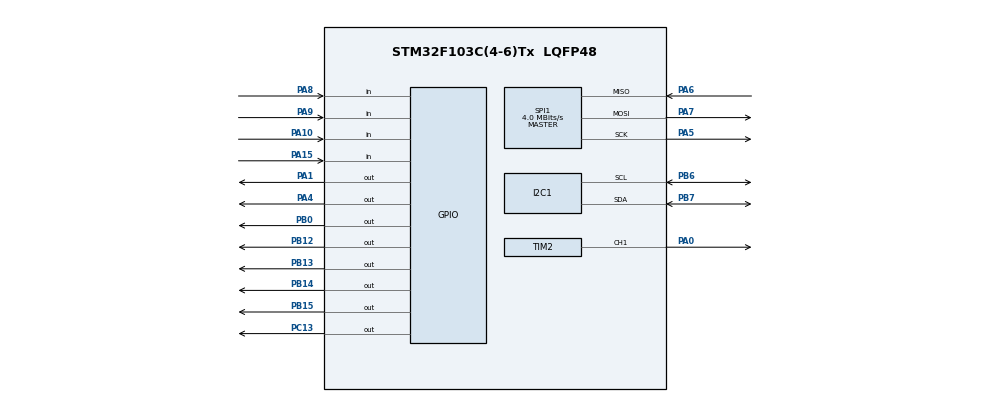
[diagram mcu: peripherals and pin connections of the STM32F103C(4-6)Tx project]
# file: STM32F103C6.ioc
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Mcu.Family=STM32F1
Mcu.Name=STM32F103C(4-6)Tx
Mcu.Package=LQFP48
NVIC.PriorityGroup=NVIC_PRIORITYGROUP_4
PA0-WKUP.Signal=S_TIM2_CH1_ETR
PA1.Signal=GPIO_Output
PA10.GPIO_PuPd=GPIO_PULLUP
PA10.Signal=GPIO_Input
PA13.Mode=Serial_Wire
PA13.Signal=SYS_JTMS-SWDIO
PA14.Mode=Serial_Wire
PA14.Signal=SYS_JTCK-SWCLK
PA15.GPIO_PuPd=GPIO_PULLUP
PA15.Signal=GPIO_Input
PA4.Signal=GPIO_Output
PA5.Mode=Full_Duplex_Master
PA5.Signal=SPI1_SCK
PA6.Mode=Full_Duplex_Master
PA6.Signal=SPI1_MISO
PA7.Mode=Full_Duplex_Master
PA7.Signal=SPI1_MOSI
PA8.GPIO_PuPd=GPIO_PULLUP
PA8.Signal=GPIO_Input
PA9.GPIO_PuPd=GPIO_PULLUP
PA9.Signal=GPIO_Input
PB0.Signal=GPIO_Output
PB12.Signal=GPIO_Output
PB13.Signal=GPIO_Output
PB14.Signal=GPIO_Output
PB15.Signal=GPIO_Output
PB6.Mode=I2C
PB6.Signal=I2C1_SCL
PB7.Mode=I2C
PB7.Signal=I2C1_SDA
PC13-TAMPER-RTC.Signal=GPIO_Output
ProjectManager.HeapSize=0x200
ProjectManager.StackSize=0x400
ProjectManager.TargetToolchain=STM32CubeIDE
RCC.APB1Freq_Value=8000000
RCC.APB2Freq_Value=8000000
SH.S_TIM2_CH1_ETR.0=TIM2_CH1,PWM Generation1 CH1
SPI1.CalculateBaudRate=4.0 MBits/s
SPI1.Direction=SPI_DIRECTION_2LINES
SPI1.Mode=SPI_MODE_MASTER
SPI1.VirtualType=VM_MASTER
TIM2.Channel-PWM\ Generation1\ CH1=TIM_CHANNEL_1
TIM2.Prescaler=7
board=custom

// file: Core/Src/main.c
/* USER CODE BEGIN Header */
/**
  ******************************************************************************
  * @file           : main.c
  * @brief          : Main program body
  ******************************************************************************
  * @attention
  *
  * Copyright (c) 2026 STMicroelectronics.
  * All rights reserved.
  *
  * This software is licensed under terms that can be found in the LICENSE file
  * in the root directory of this software component.
  * If no LICENSE file comes with this software, it is provided AS-IS.
  *
  ******************************************************************************
  */
/* USER CODE END Header */
#include "main.h"

/* USER CODE BEGIN Includes */
#include "i2c-lcd.h"
#include <string.h>
#include <stdio.h>
#include "rc522.h"
/* USER CODE END Includes */

I2C_HandleTypeDef hi2c1;

SPI_HandleTypeDef hspi1;

TIM_HandleTypeDef htim2;

void SystemClock_Config(void);
static void MX_GPIO_Init(void);
static void MX_I2C1_Init(void);
static void MX_SPI1_Init(void);
static void MX_TIM2_Init(void);

/* USER CODE BEGIN 0 */
#define FLASH_ADDR 0x08007C00 // The absolute end of the 32KB C6 flash

// Create a package for our security data
typedef struct {
    uint32_t memory_flag; // A special tag to know if we've saved before
    char pin[8];
    int total;
    uint8_t cards[5][4];
} SaveData;

void load_from_flash(char* pin, int* total, uint8_t cards[5][4]) {
    SaveData* saved = (SaveData*)FLASH_ADDR;
    // If the memory flag matches, load the saved data!
    if(saved->memory_flag == 0xABCD1234) {
        strcpy(pin, saved->pin);
        *total = saved->total;
        memcpy(cards, saved->cards, 20);
    }
}

void save_to_flash(char* pin, int total, uint8_t cards[5][4]) {
    SaveData data;
    data.memory_flag = 0xABCD1234;
    strcpy(data.pin, pin);
    data.total = total;
    memcpy(data.cards, cards, 20);

    HAL_FLASH_Unlock();

    // Step 1: Erase the old page
    FLASH_EraseInitTypeDef EraseInitStruct;
    uint32_t PageError = 0;
    EraseInitStruct.TypeErase = FLASH_TYPEERASE_PAGES;
    EraseInitStruct.PageAddress = FLASH_ADDR;
    EraseInitStruct.NbPages = 1;
    HAL_FLASHEx_Erase(&EraseInitStruct, &PageError);

    // Step 2: Write the new data package into the silicon
    uint32_t* ptr = (uint32_t*)&data;
    for(int i = 0; i < sizeof(SaveData)/4; i++) {
        HAL_FLASH_Program(FLASH_TYPEPROGRAM_WORD, FLASH_ADDR + (i*4), ptr[i]);
    }

    HAL_FLASH_Lock();
}
void beep_success(void) {
    HAL_GPIO_WritePin(GPIOA, GPIO_PIN_1, GPIO_PIN_RESET); HAL_Delay(60);  // ON (Short)
    HAL_GPIO_WritePin(GPIOA, GPIO_PIN_1, GPIO_PIN_SET);   HAL_Delay(60);  // OFF
    HAL_GPIO_WritePin(GPIOA, GPIO_PIN_1, GPIO_PIN_RESET); HAL_Delay(250); // ON (Long)
    HAL_GPIO_WritePin(GPIOA, GPIO_PIN_1, GPIO_PIN_SET);                   // OFF
}

void beep_error(void) {
    HAL_GPIO_WritePin(GPIOA, GPIO_PIN_1, GPIO_PIN_RESET); HAL_Delay(350); // ON (Heavy)
    HAL_GPIO_WritePin(GPIOA, GPIO_PIN_1, GPIO_PIN_SET);   HAL_Delay(150); // OFF
    HAL_GPIO_WritePin(GPIOA, GPIO_PIN_1, GPIO_PIN_RESET); HAL_Delay(350); // ON (Heavy)
    HAL_GPIO_WritePin(GPIOA, GPIO_PIN_1, GPIO_PIN_SET);                   // OFF
}

void beep_lock(void) {
    HAL_GPIO_WritePin(GPIOA, GPIO_PIN_1, GPIO_PIN_RESET); HAL_Delay(400);
    HAL_GPIO_WritePin(GPIOA, GPIO_PIN_1, GPIO_PIN_SET);
}

void beep_mode(void) {
    HAL_GPIO_WritePin(GPIOA, GPIO_PIN_1, GPIO_PIN_RESET); HAL_Delay(40);
    HAL_GPIO_WritePin(GPIOA, GPIO_PIN_1, GPIO_PIN_SET); HAL_Delay(40);
    HAL_GPIO_WritePin(GPIOA, GPIO_PIN_1, GPIO_PIN_RESET); HAL_Delay(40);
    HAL_GPIO_WritePin(GPIOA, GPIO_PIN_1, GPIO_PIN_SET);
}
char read_keypad(void)
{
    GPIO_TypeDef* row_ports[] = {GPIOB, GPIOB, GPIOB, GPIOB};
    uint16_t row_pins[] = {GPIO_PIN_12, GPIO_PIN_13, GPIO_PIN_14, GPIO_PIN_15};
    GPIO_TypeDef* col_ports[] = {GPIOA, GPIOA, GPIOA, GPIOA};
    uint16_t col_pins[] = {GPIO_PIN_8, GPIO_PIN_9, GPIO_PIN_10, GPIO_PIN_15};

    char keys[4][4] = {
        {'1', '2', '3', 'A'},
        {'4', '5', '6', 'B'},
        {'7', '8', '9', 'C'},
        {'*', '0', '#', 'D'}
    };

    for (int r = 0; r < 4; r++)
    {
        HAL_GPIO_WritePin(row_ports[r], row_pins[r], GPIO_PIN_RESET);

        for (int c = 0; c < 4; c++)
        {
            if (HAL_GPIO_ReadPin(col_ports[c], col_pins[c]) == GPIO_PIN_RESET)
            {
                HAL_Delay(200); // Safe delay instead of an infinite trap loop
                HAL_GPIO_WritePin(row_ports[r], row_pins[r], GPIO_PIN_SET);
                return keys[r][c];
            }
        }
        HAL_GPIO_WritePin(row_ports[r], row_pins[r], GPIO_PIN_SET);
    }
    return '\0';
}
/* USER CODE END 0 */

int main(void)
{

  /* MCU Configuration--------------------------------------------------------*/

  /* Reset of all peripherals, Initializes the Flash interface and the Systick. */
  HAL_Init();

  /* Configure the system clock */
  SystemClock_Config();

  /* Initialize all configured peripherals */
  MX_GPIO_Init();
  MX_I2C1_Init();
  MX_SPI1_Init();
  MX_TIM2_Init();
  /* USER CODE BEGIN 2 */
  lcd_init();

  // Initialize all rows to HIGH
  HAL_GPIO_WritePin(GPIOB, GPIO_PIN_12 | GPIO_PIN_13 | GPIO_PIN_14 | GPIO_PIN_15, GPIO_PIN_SET);
  HAL_GPIO_WritePin(GPIOA, GPIO_PIN_1, GPIO_PIN_SET); // Ensure Buzzer is OFF

  // Start the servo motor PWM signal
  HAL_TIM_PWM_Start(&htim2, TIM_CHANNEL_1);
  TIM2->CCR1 = 500; // Locked Position

  // Initialize RFID
  MFRC522_Init();

  // =========================================================
  // FACTORY RESET CHECK (Hold 'D' during startup)
  // =========================================================
  HAL_GPIO_WritePin(GPIOB, GPIO_PIN_15, GPIO_PIN_RESET); // Pull Row 4 LOW
  HAL_Delay(10); // Give the voltage a microsecond to settle

  if (HAL_GPIO_ReadPin(GPIOA, GPIO_PIN_15) == GPIO_PIN_RESET)
  {
      lcd_clear();
      lcd_put_cur(0, 1);
      lcd_send_string("FACTORY RESET");
      lcd_put_cur(1, 2);
      lcd_send_string("IN PROGRESS...");

      // Wipe memory and restore default PIN and Master Card
      uint8_t default_cards[5][4] = {{0x5B, 0x93, 0x6A, 0x06}, {0}, {0}, {0}, {0}};
      save_to_flash("0000", 1, default_cards);

      // Long 2-second beep for audio confirmation
      HAL_GPIO_WritePin(GPIOA, GPIO_PIN_1, GPIO_PIN_RESET);
      HAL_Delay(2000);
      HAL_GPIO_WritePin(GPIOA, GPIO_PIN_1, GPIO_PIN_SET);

      lcd_clear();
      lcd_put_cur(0, 1);
      lcd_send_string("RESET COMPLETE");
      HAL_Delay(1500);
  }
  HAL_GPIO_WritePin(GPIOB, GPIO_PIN_15, GPIO_PIN_SET); // Restore Row 4 HIGH

  // Normal Boot Screen
  lcd_clear();
  lcd_put_cur(0, 0);
  lcd_send_string("DOOR LOCKED");
  lcd_put_cur(1, 0);
  lcd_send_string("Enter PIN: ");
  /* USER CODE END 2 */

  /* Infinite loop */
  /* USER CODE BEGIN WHILE */
  uint32_t led_timer = HAL_GetTick();
  uint32_t unlock_timer = 0;
  uint32_t sleep_timer = HAL_GetTick();
  int is_asleep = 0;
  int failed_attempts = 0;
  int is_locked_out = 0;
  uint32_t lockout_timer = 0;
  uint32_t alarm_timer = HAL_GetTick();
  char current_pin[5] = "0000";
  char input_buffer[5] = "";
  int input_index = 0;
  int system_state = 0; // 0=Locked, 1=Unlocked, 2=ChangePIN, 3=VerifyPIN for Card, 4=ScanNewCard

  // Database for up to 5 authorized cards. (Slot 0 is your master card).
  uint8_t authorized_cards[5][4] = {
      {0x5B, 0x93, 0x6A, 0x06},
      {0}, {0}, {0}, {0}
  };
  int total_cards = 1;
  load_from_flash(current_pin, &total_cards, authorized_cards);

  while (1)
      {
          // =========================================================
          // 1. RFID SCANNER CHECK (Works even during lockout)
          // =========================================================
          uint8_t rfid_id[5];
          if (MFRC522_Check(rfid_id) == 0)
          {
              sleep_timer = HAL_GetTick();
              if (is_asleep) {
                  is_asleep = 0;
                  uint8_t wake_cmd = 0x08;
                  HAL_I2C_Master_Transmit(&hi2c1, 0x4E, &wake_cmd, 1, 10);
              }

              if (system_state == 4) // ADD CARD MODE
              {
                  if (total_cards < 5)
                  {
                      authorized_cards[total_cards][0] = rfid_id[0];
                      authorized_cards[total_cards][1] = rfid_id[1];
                      authorized_cards[total_cards][2] = rfid_id[2];
                      authorized_cards[total_cards][3] = rfid_id[3];
                      total_cards++;
                      save_to_flash(current_pin, total_cards, authorized_cards);

                      beep_success();
                      lcd_clear();
                      lcd_put_cur(0, 2);
                      lcd_send_string("CARD ADDED!");
                  }
                  else
                  {
                      beep_error();
                      lcd_clear();
                      lcd_put_cur(0, 2);
                      lcd_send_string("MEMORY FULL!");
                  }
                  HAL_Delay(1500);
                  system_state = 1;
                  TIM2->CCR1 = 1500;
                  lcd_clear();
                  lcd_put_cur(0, 1);
                  lcd_send_string("DOOR UNLOCKED!");
                  lcd_put_cur(1, 0);
                  lcd_send_string("#:Lck *:PIN A:ID");
              }
              else if (system_state == 0 || is_locked_out == 1) // LOCKED OR ALARM MODE
              {
                  int card_matched = 0;
                  for (int i = 0; i < total_cards; i++)
                  {
                      if (rfid_id[0] == authorized_cards[i][0] && rfid_id[1] == authorized_cards[i][1] &&
                          rfid_id[2] == authorized_cards[i][2] && rfid_id[3] == authorized_cards[i][3])
                      {
                          card_matched = 1;
                          break;
                      }
                  }

                  if (card_matched == 1)
                  {
                      is_locked_out = 0; // OVERRIDE ALARM
                      failed_attempts = 0;
                      HAL_GPIO_WritePin(GPIOA, GPIO_PIN_1, GPIO_PIN_SET); // Force buzzer off

                      system_state = 1;
                      TIM2->CCR1 = 1500;
                      unlock_timer = HAL_GetTick();
                      beep_success();
                      lcd_clear();
                      lcd_put_cur(0, 1);
                      lcd_send_string("DOOR UNLOCKED!");
                      lcd_put_cur(1, 0);
                      lcd_send_string("#:Lck *:PIN A:ID");
                  }
                  else if (!is_locked_out)
                  {
                      failed_attempts++;
                      if (failed_attempts >= 3)
                      {
                          is_locked_out = 1;
                          lockout_timer = HAL_GetTick();
                          lcd_clear();
                          lcd_put_cur(0, 1);
                          lcd_send_string("SYSTEM LOCKED!");
                          lcd_put_cur(1, 0);
                          lcd_send_string("Scan Valid Card");
                      }
                      else
                      {
                          beep_error();
                          lcd_clear();
                          lcd_put_cur(0, 1);
                          lcd_send_string("ACCESS DENIED!");
                          HAL_Delay(1500);

                          lcd_clear();
                          lcd_put_cur(0, 0);
                          lcd_send_string("DOOR LOCKED");
                          lcd_put_cur(1, 0);
                          lcd_send_string("Enter PIN: ");
                      }
                  }
              }
              input_index = 0;
              memset(input_buffer, 0, sizeof(input_buffer));
              HAL_Delay(1000);
          }

          // =========================================================
          // 2. KEYPAD & ALARM LOGIC
          // =========================================================
          char key = read_keypad();

          // IF THE ALARM IS TRIGGERED
          if (is_locked_out)
                  {
                      // 1. Force the screen to stay awake for the entire 30 seconds
                      sleep_timer = HAL_GetTick();
                      if (is_asleep) {
                          is_asleep = 0;
                          uint8_t wake_cmd = 0x08;
                          HAL_I2C_Master_Transmit(&hi2c1, 0x4E, &wake_cmd, 1, 10);
                      }

                      // 2. Rapidly toggle buzzer for alarm sound
                      if (HAL_GetTick() - alarm_timer >= 100) {
                          HAL_GPIO_TogglePin(GPIOA, GPIO_PIN_1);
                          alarm_timer = HAL_GetTick();
                      }

                      // 3. Check if 30-second penalty is over
                      if (HAL_GetTick() - lockout_timer >= 30000) {
                          is_locked_out = 0;
                          failed_attempts = 0;
                          HAL_GPIO_WritePin(GPIOA, GPIO_PIN_1, GPIO_PIN_SET); // Turn buzzer off

                          lcd_clear();
                          lcd_put_cur(0, 0);
                          lcd_send_string("DOOR LOCKED");
                          lcd_put_cur(1, 0);
                          lcd_send_string("Enter PIN: ");

                          // Start a fresh 15-second sleep countdown for the normal menu
                          sleep_timer = HAL_GetTick();
                      }

                      // (We no longer need the keypad check here since the screen is forced awake)
                  }
          // IF NORMAL OPERATION
          else if (key != '\0')
          {
              sleep_timer = HAL_GetTick();
              if (is_asleep) {
                  is_asleep = 0;
                  uint8_t wake_cmd = 0x08;
                  HAL_I2C_Master_Transmit(&hi2c1, 0x4E, &wake_cmd, 1, 10);
              }

              if (system_state == 0) // Locked
              {
                  if (key >= '0' && key <= '9')
                  {
                      HAL_GPIO_WritePin(GPIOA, GPIO_PIN_1, GPIO_PIN_RESET); HAL_Delay(50);
                      HAL_GPIO_WritePin(GPIOA, GPIO_PIN_1, GPIO_PIN_SET);

                      input_buffer[input_index] = key;
                      lcd_put_cur(1, 11 + input_index);
                      lcd_send_data('*');
                      input_index++;

                      if (input_index == 4)
                      {
                          input_buffer[4] = '\0';
                          if (strcmp(input_buffer, current_pin) == 0)
                          {
                              failed_attempts = 0;
                              system_state = 1;
                              TIM2->CCR1 = 1500;
                              unlock_timer = HAL_GetTick();
                              beep_success();
                              lcd_clear();
                              lcd_put_cur(0, 1);
                              lcd_send_string("DOOR UNLOCKED!");
                              lcd_put_cur(1, 0);
                              lcd_send_string("#:Lck *:PIN A:ID");
                          }
                          else
                          {
                              failed_attempts++;
                              if (failed_attempts >= 3)
                              {
                                  is_locked_out = 1;
                                  lockout_timer = HAL_GetTick();
                                  lcd_clear();
                                  lcd_put_cur(0, 1);
                                  lcd_send_string("SYSTEM LOCKED!");
                                  lcd_put_cur(1, 0);
                                  lcd_send_string("Scan Valid Card");
                              }
                              else
                              {
                                  beep_error();
                                  lcd_clear();
                                  lcd_put_cur(0, 3);
                                  lcd_send_string("WRONG PIN!");
                                  HAL_Delay(1500);

                                  lcd_clear();
                                  lcd_put_cur(0, 0);
                                  lcd_send_string("DOOR LOCKED");
                                  lcd_put_cur(1, 0);
                                  lcd_send_string("Enter PIN: ");
                              }
                          }
                          input_index = 0;
                          memset(input_buffer, 0, sizeof(input_buffer));
                      }
                  }
                  else if (key == 'C' && input_index > 0)
                  {
                      HAL_GPIO_WritePin(GPIOA, GPIO_PIN_1, GPIO_PIN_RESET); HAL_Delay(50);
                      HAL_GPIO_WritePin(GPIOA, GPIO_PIN_1, GPIO_PIN_SET);

                      input_index--;
                      input_buffer[input_index] = '\0';
                      lcd_put_cur(1, 11 + input_index);
                      lcd_send_string(" ");
                  }
              }
              else if (system_state == 1) // Unlocked
              {
                  if (key == '#')
                  {
                      beep_lock();
                      TIM2->CCR1 = 500;
                      system_state = 0;
                      input_index = 0;
                      lcd_clear();
                      lcd_put_cur(0, 0);
                      lcd_send_string("DOOR LOCKED");
                      lcd_put_cur(1, 0);
                      lcd_send_string("Enter PIN: ");
                  }
                  else if (key == '*') // Change the PIN
                  {
                      beep_mode();
                      system_state = 5; // <--- Go to verification state first
                      input_index = 0;
                      memset(input_buffer, 0, sizeof(input_buffer));
                      lcd_clear();
                      lcd_put_cur(0, 0);
                      lcd_send_string("CHANGE PIN MODE");
                      lcd_put_cur(1, 0);
                      lcd_send_string("Verify PIN: ");
                  }
                  else if (key == 'A')
                  {
                      beep_mode();
                      system_state = 3;
                      input_index = 0;
                      memset(input_buffer, 0, sizeof(input_buffer));
                      lcd_clear();
                      lcd_put_cur(0, 0);
                      lcd_send_string("ADD CARD MODE");
                      lcd_put_cur(1, 0);
                      lcd_send_string("Verify PIN: ");
                  }
              }
              else if (system_state == 2) // Change PIN
              {
                  if (key >= '0' && key <= '9')
                  {
                      HAL_GPIO_WritePin(GPIOA, GPIO_PIN_1, GPIO_PIN_RESET); HAL_Delay(50);
                      HAL_GPIO_WritePin(GPIOA, GPIO_PIN_1, GPIO_PIN_SET);

                      input_buffer[input_index] = key;
                      lcd_put_cur(1, 6 + input_index);
                      lcd_send_data(key);
                      input_index++;

                      if (input_index == 4)
                      {
                          input_buffer[4] = '\0';
                          strcpy(current_pin, input_buffer);
                          save_to_flash(current_pin, total_cards, authorized_cards);

                          beep_success();
                          lcd_clear();
                          lcd_put_cur(0, 1);
                          lcd_send_string("PIN SAVED!");
                          HAL_Delay(1500);

                          system_state = 1;
                          input_index = 0;
                          unlock_timer = HAL_GetTick();
                          lcd_clear();
                          lcd_put_cur(0, 1);
                          lcd_send_string("DOOR UNLOCKED!");
                          lcd_put_cur(1, 0);
                          lcd_send_string("#:Lck *:PIN A:ID");
                      }
                  }
                  else if (key == 'C')
                  {
                      HAL_GPIO_WritePin(GPIOA, GPIO_PIN_1, GPIO_PIN_RESET); HAL_Delay(50);
                      HAL_GPIO_WritePin(GPIOA, GPIO_PIN_1, GPIO_PIN_SET);

                      if (input_index > 0) {
                          input_index--;
                          input_buffer[input_index] = '\0';
                          lcd_put_cur(1, 6 + input_index);
                          lcd_send_string(" ");
                      } else {
                          system_state = 1;
                          unlock_timer = HAL_GetTick();
                          lcd_clear();
                          lcd_put_cur(0, 1);
                          lcd_send_string("DOOR UNLOCKED!");
                          lcd_put_cur(1, 0);
                          lcd_send_string("#:Lck *:PIN A:ID");
                      }
                  }
              }
              else if (system_state == 3) // Verify PIN for Card
              {
                  if (key >= '0' && key <= '9')
                  {
                      HAL_GPIO_WritePin(GPIOA, GPIO_PIN_1, GPIO_PIN_RESET); HAL_Delay(50);
                      HAL_GPIO_WritePin(GPIOA, GPIO_PIN_1, GPIO_PIN_SET);

                      input_buffer[input_index] = key;
                      lcd_put_cur(1, 12 + input_index);
                      lcd_send_data('*');
                      input_index++;

                      if (input_index == 4)
                      {
                          input_buffer[4] = '\0';
                          if (strcmp(input_buffer, current_pin) == 0)
                          {
                             system_state = 4;
                             beep_success();
                             lcd_clear();
                             lcd_put_cur(0, 2);
                             lcd_send_string("PIN ACCEPTED");
                             lcd_put_cur(1, 0);
                             lcd_send_string("Scan New Card...");
                          }
                          else
                          {
                             beep_error();
                             lcd_clear();
                             lcd_put_cur(0, 3);
                             lcd_send_string("WRONG PIN!");
                             HAL_Delay(1500);

                             system_state = 1;
                             unlock_timer = HAL_GetTick();
                             lcd_clear();
                             lcd_put_cur(0, 1);
                             lcd_send_string("DOOR UNLOCKED!");
                             lcd_put_cur(1, 0);
                             lcd_send_string("#:Lck *:PIN A:ID");
                          }
                          input_index = 0;
                          memset(input_buffer, 0, sizeof(input_buffer));
                      }
                  }
                  else if (key == 'C')
                  {
                      HAL_GPIO_WritePin(GPIOA, GPIO_PIN_1, GPIO_PIN_RESET); HAL_Delay(50);
                      HAL_GPIO_WritePin(GPIOA, GPIO_PIN_1, GPIO_PIN_SET);

                      if (input_index > 0) {
                          input_index--;
                          input_buffer[input_index] = '\0';
                          lcd_put_cur(1, 12 + input_index);
                          lcd_send_string(" ");
                      } else {
                          system_state = 1;
                          unlock_timer = HAL_GetTick();
                          lcd_clear();
                          lcd_put_cur(0, 1);
                          lcd_send_string("DOOR UNLOCKED!");
                          lcd_put_cur(1, 0);
                          lcd_send_string("#:Lck *:PIN A:ID");
                      }
                  }
              }
              else if (system_state == 4) // Awaiting Card
                            {
                                if (key == 'C')
                                {
                                    beep_mode();
                                    system_state = 1;
                                    unlock_timer = HAL_GetTick();
                                    lcd_clear();
                                    lcd_put_cur(0, 1);
                                    lcd_send_string("DOOR UNLOCKED!");
                                    lcd_put_cur(1, 0);
                                    lcd_send_string("#:Lck *:PIN A:ID");
                                }
                            }
               // ---------------------------------------------------------
               // STATE 5: VERIFY PIN TO CHANGE PIN
               // ---------------------------------------------------------
               else if (system_state == 5)
                            {
                                if (key >= '0' && key <= '9')
                                {
                                    HAL_GPIO_WritePin(GPIOA, GPIO_PIN_1, GPIO_PIN_RESET); HAL_Delay(50);
                                    HAL_GPIO_WritePin(GPIOA, GPIO_PIN_1, GPIO_PIN_SET);

                                    input_buffer[input_index] = key;
                                    lcd_put_cur(1, 12 + input_index);
                                    lcd_send_data('*');
                                    input_index++;

                                    if (input_index == 4)
                                    {
                                        input_buffer[4] = '\0';

                                        if (strcmp(input_buffer, current_pin) == 0)
                                        {
                                           // PIN Correct! Move to State 2 to enter the new PIN
                                           system_state = 2;
                                           beep_success();
                                           lcd_clear();
                                           lcd_put_cur(0, 1);
                                           lcd_send_string("PIN ACCEPTED");
                                           HAL_Delay(1000);

                                           lcd_clear();
                                           lcd_put_cur(0, 1);
                                           lcd_send_string("ENTER NEW PIN:");
                                        }
                                        else
                                        {
                                           // PIN Incorrect! Boot back to unlocked menu
                                           beep_error();
                                           lcd_clear();
                                           lcd_put_cur(0, 3);
                                           lcd_send_string("WRONG PIN!");
                                           HAL_Delay(1500);

                                           system_state = 1;
                                           unlock_timer = HAL_GetTick();
                                           lcd_clear();
                                           lcd_put_cur(0, 1);
                                           lcd_send_string("DOOR UNLOCKED!");
                                           lcd_put_cur(1, 0);
                                           lcd_send_string("#:Lck *:PIN A:ID");
                                        }
                                        input_index = 0;
                                        memset(input_buffer, 0, sizeof(input_buffer));
                                    }
                                }
                                else if (key == 'C') // CANCEL / BACKSPACE
                                {
                                    HAL_GPIO_WritePin(GPIOA, GPIO_PIN_1, GPIO_PIN_RESET); HAL_Delay(50);
                                    HAL_GPIO_WritePin(GPIOA, GPIO_PIN_1, GPIO_PIN_SET);

                                    if (input_index > 0) {
                                        input_index--;
                                        input_buffer[input_index] = '\0';
                                        lcd_put_cur(1, 12 + input_index);
                                        lcd_send_string(" ");
                                    } else {
                                        system_state = 1;
                                        unlock_timer = HAL_GetTick();
                                        lcd_clear();
                                        lcd_put_cur(0, 1);
                                        lcd_send_string("DOOR UNLOCKED!");
                                        lcd_put_cur(1, 0);
                                        lcd_send_string("#:Lck *:PIN A:ID");
                                    }
                                }
                            }
                        }

          // =========================================================
          // 3. AUTO-LOCK TIMER
          // =========================================================
          if (system_state == 1 && (HAL_GetTick() - unlock_timer >= 5000))
          {
              beep_lock();
              TIM2->CCR1 = 500;
              system_state = 0;
              input_index = 0;
              memset(input_buffer, 0, sizeof(input_buffer));
              lcd_clear();
              lcd_put_cur(0, 0);
              lcd_send_string("DOOR LOCKED");
              lcd_put_cur(1, 0);
              lcd_send_string("Enter PIN: ");
          }

          // =========================================================
          // 4. SCREEN SLEEP TIMER (15 Seconds)
          // =========================================================
          if (!is_asleep && (HAL_GetTick() - sleep_timer >= 15000))
          {
              is_asleep = 1;
              uint8_t sleep_cmd = 0x00;
              HAL_I2C_Master_Transmit(&hi2c1, 0x4E, &sleep_cmd, 1, 10);
          }

          // =========================================================
          // 5. HEARTBEAT LED
          // =========================================================
          if (HAL_GetTick() - led_timer >= 500)
          {
              HAL_GPIO_TogglePin(GPIOC, GPIO_PIN_13);
              led_timer = HAL_GetTick();
          }

          HAL_Delay(10);
    /* USER CODE END WHILE */

  }
}

void SystemClock_Config(void)
{
  RCC_OscInitTypeDef RCC_OscInitStruct = {0};
  RCC_ClkInitTypeDef RCC_ClkInitStruct = {0};

  /** Initializes the RCC Oscillators according to the specified parameters
  * in the RCC_OscInitTypeDef structure.
  */
  RCC_OscInitStruct.OscillatorType = RCC_OSCILLATORTYPE_HSI;
  RCC_OscInitStruct.HSIState = RCC_HSI_ON;
  RCC_OscInitStruct.HSICalibrationValue = RCC_HSICALIBRATION_DEFAULT;
  RCC_OscInitStruct.PLL.PLLState = RCC_PLL_NONE;
  if (HAL_RCC_OscConfig(&RCC_OscInitStruct) != HAL_OK)
  {
    Error_Handler();
  }

  /** Initializes the CPU, AHB and APB buses clocks
  */
  RCC_ClkInitStruct.ClockType = RCC_CLOCKTYPE_HCLK|RCC_CLOCKTYPE_SYSCLK
                              |RCC_CLOCKTYPE_PCLK1|RCC_CLOCKTYPE_PCLK2;
  RCC_ClkInitStruct.SYSCLKSource = RCC_SYSCLKSOURCE_HSI;
  RCC_ClkInitStruct.AHBCLKDivider = RCC_SYSCLK_DIV1;
  RCC_ClkInitStruct.APB1CLKDivider = RCC_HCLK_DIV1;
  RCC_ClkInitStruct.APB2CLKDivider = RCC_HCLK_DIV1;

  if (HAL_RCC_ClockConfig(&RCC_ClkInitStruct, FLASH_LATENCY_0) != HAL_OK)
  {
    Error_Handler();
  }
}

static void MX_I2C1_Init(void)
{

  hi2c1.Instance = I2C1;
  hi2c1.Init.ClockSpeed = 100000;
  hi2c1.Init.DutyCycle = I2C_DUTYCYCLE_2;
  hi2c1.Init.OwnAddress1 = 0;
  hi2c1.Init.AddressingMode = I2C_ADDRESSINGMODE_7BIT;
  hi2c1.Init.DualAddressMode = I2C_DUALADDRESS_DISABLE;
  hi2c1.Init.OwnAddress2 = 0;
  hi2c1.Init.GeneralCallMode = I2C_GENERALCALL_DISABLE;
  hi2c1.Init.NoStretchMode = I2C_NOSTRETCH_DISABLE;
  if (HAL_I2C_Init(&hi2c1) != HAL_OK)
  {
    Error_Handler();
  }

}

static void MX_SPI1_Init(void)
{

  /* SPI1 parameter configuration*/
  hspi1.Instance = SPI1;
  hspi1.Init.Mode = SPI_MODE_MASTER;
  hspi1.Init.Direction = SPI_DIRECTION_2LINES;
  hspi1.Init.DataSize = SPI_DATASIZE_8BIT;
  hspi1.Init.CLKPolarity = SPI_POLARITY_LOW;
  hspi1.Init.CLKPhase = SPI_PHASE_1EDGE;
  hspi1.Init.NSS = SPI_NSS_SOFT;
  hspi1.Init.BaudRatePrescaler = SPI_BAUDRATEPRESCALER_2;
  hspi1.Init.FirstBit = SPI_FIRSTBIT_MSB;
  hspi1.Init.TIMode = SPI_TIMODE_DISABLE;
  hspi1.Init.CRCCalculation = SPI_CRCCALCULATION_DISABLE;
  hspi1.Init.CRCPolynomial = 10;
  if (HAL_SPI_Init(&hspi1) != HAL_OK)
  {
    Error_Handler();
  }

}

static void MX_TIM2_Init(void)
{

  TIM_MasterConfigTypeDef sMasterConfig = {0};
  TIM_OC_InitTypeDef sConfigOC = {0};

  htim2.Instance = TIM2;
  htim2.Init.Prescaler = 7;
  htim2.Init.CounterMode = TIM_COUNTERMODE_UP;
  htim2.Init.Period = 19999;
  htim2.Init.ClockDivision = TIM_CLOCKDIVISION_DIV1;
  htim2.Init.AutoReloadPreload = TIM_AUTORELOAD_PRELOAD_DISABLE;
  if (HAL_TIM_PWM_Init(&htim2) != HAL_OK)
  {
    Error_Handler();
  }
  sMasterConfig.MasterOutputTrigger = TIM_TRGO_RESET;
  sMasterConfig.MasterSlaveMode = TIM_MASTERSLAVEMODE_DISABLE;
  if (HAL_TIMEx_MasterConfigSynchronization(&htim2, &sMasterConfig) != HAL_OK)
  {
    Error_Handler();
  }
  sConfigOC.OCMode = TIM_OCMODE_PWM1;
  sConfigOC.Pulse = 0;
  sConfigOC.OCPolarity = TIM_OCPOLARITY_HIGH;
  sConfigOC.OCFastMode = TIM_OCFAST_DISABLE;
  if (HAL_TIM_PWM_ConfigChannel(&htim2, &sConfigOC, TIM_CHANNEL_1) != HAL_OK)
  {
    Error_Handler();
  }
  HAL_TIM_MspPostInit(&htim2);

}

static void MX_GPIO_Init(void)
{
  GPIO_InitTypeDef GPIO_InitStruct = {0};

  /* GPIO Ports Clock Enable */
  __HAL_RCC_GPIOC_CLK_ENABLE();
  __HAL_RCC_GPIOA_CLK_ENABLE();
  __HAL_RCC_GPIOB_CLK_ENABLE();

  /*Configure GPIO pin Output Level */
  HAL_GPIO_WritePin(GPIOC, GPIO_PIN_13, GPIO_PIN_RESET);

  /*Configure GPIO pin Output Level */
  HAL_GPIO_WritePin(GPIOA, GPIO_PIN_1|GPIO_PIN_4, GPIO_PIN_RESET);

  /*Configure GPIO pin Output Level */
  HAL_GPIO_WritePin(GPIOB, GPIO_PIN_0|GPIO_PIN_12|GPIO_PIN_13|GPIO_PIN_14
                          |GPIO_PIN_15, GPIO_PIN_RESET);

  /*Configure GPIO pin : PC13 */
  GPIO_InitStruct.Pin = GPIO_PIN_13;
  GPIO_InitStruct.Mode = GPIO_MODE_OUTPUT_PP;
  GPIO_InitStruct.Pull = GPIO_NOPULL;
  GPIO_InitStruct.Speed = GPIO_SPEED_FREQ_LOW;
  HAL_GPIO_Init(GPIOC, &GPIO_InitStruct);

  /*Configure GPIO pins : PA1 PA4 */
  GPIO_InitStruct.Pin = GPIO_PIN_1|GPIO_PIN_4;
  GPIO_InitStruct.Mode = GPIO_MODE_OUTPUT_PP;
  GPIO_InitStruct.Pull = GPIO_NOPULL;
  GPIO_InitStruct.Speed = GPIO_SPEED_FREQ_LOW;
  HAL_GPIO_Init(GPIOA, &GPIO_InitStruct);

  /*Configure GPIO pins : PB0 PB12 PB13 PB14
                           PB15 */
  GPIO_InitStruct.Pin = GPIO_PIN_0|GPIO_PIN_12|GPIO_PIN_13|GPIO_PIN_14
                          |GPIO_PIN_15;
  GPIO_InitStruct.Mode = GPIO_MODE_OUTPUT_PP;
  GPIO_InitStruct.Pull = GPIO_NOPULL;
  GPIO_InitStruct.Speed = GPIO_SPEED_FREQ_LOW;
  HAL_GPIO_Init(GPIOB, &GPIO_InitStruct);

  /*Configure GPIO pins : PA8 PA9 PA10 PA15 */
  GPIO_InitStruct.Pin = GPIO_PIN_8|GPIO_PIN_9|GPIO_PIN_10|GPIO_PIN_15;
  GPIO_InitStruct.Mode = GPIO_MODE_INPUT;
  GPIO_InitStruct.Pull = GPIO_PULLUP;
  HAL_GPIO_Init(GPIOA, &GPIO_InitStruct);

}

void Error_Handler(void)
{
  __disable_irq();
  while (1)
  {
  }
}
